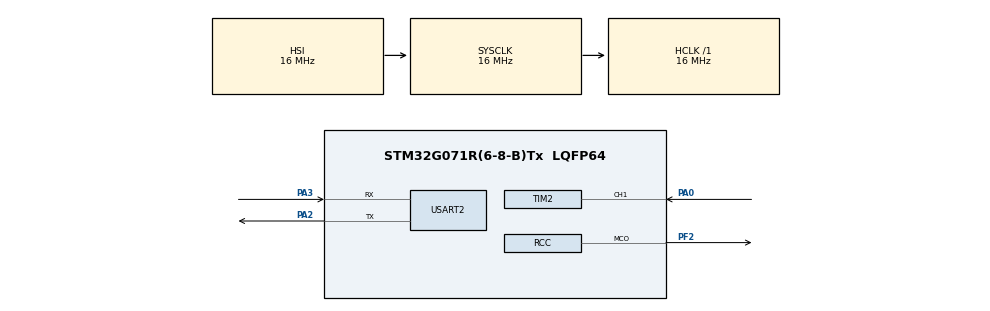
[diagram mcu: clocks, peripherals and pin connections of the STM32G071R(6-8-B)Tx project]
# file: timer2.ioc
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Mcu.Family=STM32G0
Mcu.Name=STM32G071R(6-8-B)Tx
Mcu.Package=LQFP64
NVIC.TIM2_IRQn=true\:0\:0\:false\:true\:true\:1\:true\:true
PA0.Signal=S_TIM2_CH1
PA2.Mode=Asynchronous
PA2.Signal=USART2_TX
PA3.Mode=Asynchronous
PA3.Signal=USART2_RX
PC14-OSC32_IN\ (PC14).Mode=LSE-External-Oscillator
PC14-OSC32_IN\ (PC14).Signal=RCC_OSC32_IN
PC15-OSC32_OUT\ (PC15).Mode=LSE-External-Oscillator
PC15-OSC32_OUT\ (PC15).Signal=RCC_OSC32_OUT
PF2\ -\ NRST.Mode=Clock-out
PF2\ -\ NRST.Signal=RCC_MCO
ProjectManager.HeapSize=0x200
ProjectManager.StackSize=0x400
ProjectManager.TargetToolchain=STM32CubeIDE
RCC.AHBFreq_Value=16000000
RCC.CortexFreq_Value=16000000
RCC.EXTERNAL_CLOCK_VALUE=48000
RCC.HCLKFreq_Value=16000000
RCC.HSE_VALUE=8000000
RCC.HSI_VALUE=16000000
RCC.RCC_MCO1Source=RCC_MCO1SOURCE_LSE
RCC.SYSCLKFreq_VALUE=16000000
RCC.VCOOutputFreq_Value=128000000
SH.S_TIM2_CH1.0=TIM2_CH1,Input_Capture1_from_TI1
TIM2.Channel-Input_Capture1_from_TI1=TIM_CHANNEL_1
USART2.VirtualMode-Asynchronous=VM_ASYNC
VP_SYS_VS_DBSignals.Mode=DisableDeadBatterySignals
VP_TIM2_VS_ClockSourceINT.Mode=Internal
board=custom

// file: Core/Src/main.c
/* USER CODE BEGIN Header */
/**
  ******************************************************************************
  * @file           : main.c
  * @brief          : Main program body
  ******************************************************************************
  * @attention
  *
  * <h2><center>&copy; Copyright (c) 2019 STMicroelectronics.
  * All rights reserved.</center></h2>
  *
  * This software component is licensed by ST under BSD 3-Clause license,
  * the "License"; You may not use this file except in compliance with the
  * License. You may obtain a copy of the License at:
  *                        opensource.org/licenses/BSD-3-Clause
  *
  ******************************************************************************
  */
/* USER CODE END Header */

#include "main.h"
#include "stdbool.h"
#include "stdio.h"

TIM_HandleTypeDef htim2;

UART_HandleTypeDef huart2;

/* USER CODE BEGIN PV */
uint32_t capt[2];
uint8_t count=1,counter1=1;
bool Isdone =false;
uint32_t diff;
uint8_t differ[100];
double tim2_freq,tim2_cnt_response,user_signal_period,user_signal_freq;
/* USER CODE END PV */

void SystemClock_Config(void);
static void MX_GPIO_Init(void);
static void MX_TIM2_Init(void);
static void MX_USART2_UART_Init(void);
static void MX_NVIC_Init(void);

int main(void)
{

  /* MCU Configuration--------------------------------------------------------*/

  /* Reset of all peripherals, Initializes the Flash interface and the Systick. */
  HAL_Init();

  /* Configure the system clock */
  SystemClock_Config();

  /* Initialize all configured peripherals */
  MX_GPIO_Init();
  MX_TIM2_Init();
  MX_USART2_UART_Init();

  /* Initialize interrupts */
  MX_NVIC_Init();
  /* USER CODE BEGIN 2 */
  HAL_TIM_IC_Start_IT(&htim2, TIM_CHANNEL_1);
  /* USER CODE END 2 */

  /* Infinite loop */
  /* USER CODE BEGIN WHILE */
  while (1)
  {
	  if(counter1==1)
	  {
    /* USER CODE END WHILE */
	  if(Isdone==true)
	 	  {
	 		  if(capt[1]>capt[0])
	 		  {
	 			  diff=capt[1]-capt[0];}
	 		  else
	 		  {
	 			  diff=(0xFFFFFFFF-capt[0])+capt[1];}
	 		  Isdone=false;

	  tim2_freq=16000000;
	  tim2_cnt_response=1/tim2_freq;
	  user_signal_period=diff*tim2_cnt_response;
	  user_signal_freq=1/user_signal_period;
	  sprintf((char *)differ,"num=%lf\n",user_signal_freq);
	  HAL_UART_Transmit(&huart2,(uint8_t*) differ, 20, 1000);
	  Isdone=false;
	  counter1=0;
	 	  }
    // USER CODE BEGIN 3
  }}
  /* USER CODE END 3 */
}

void SystemClock_Config(void)
{
  RCC_OscInitTypeDef RCC_OscInitStruct = {0};
  RCC_ClkInitTypeDef RCC_ClkInitStruct = {0};
  RCC_PeriphCLKInitTypeDef PeriphClkInit = {0};

  /** Configure the main internal regulator output voltage
  */
  HAL_PWREx_ControlVoltageScaling(PWR_REGULATOR_VOLTAGE_SCALE1);
  /** Configure LSE Drive Capability
  */
  __HAL_RCC_LSEDRIVE_CONFIG(RCC_LSEDRIVE_LOW);
  /** Initializes the CPU, AHB and APB busses clocks
  */
  RCC_OscInitStruct.OscillatorType = RCC_OSCILLATORTYPE_HSI|RCC_OSCILLATORTYPE_LSE;
  RCC_OscInitStruct.LSEState = RCC_LSE_ON;
  RCC_OscInitStruct.HSIState = RCC_HSI_ON;
  RCC_OscInitStruct.HSIDiv = RCC_HSI_DIV1;
  RCC_OscInitStruct.HSICalibrationValue = RCC_HSICALIBRATION_DEFAULT;
  RCC_OscInitStruct.PLL.PLLState = RCC_PLL_NONE;
  if (HAL_RCC_OscConfig(&RCC_OscInitStruct) != HAL_OK)
  {
    Error_Handler();
  }
  /** Initializes the CPU, AHB and APB busses clocks
  */
  RCC_ClkInitStruct.ClockType = RCC_CLOCKTYPE_HCLK|RCC_CLOCKTYPE_SYSCLK
                              |RCC_CLOCKTYPE_PCLK1;
  RCC_ClkInitStruct.SYSCLKSource = RCC_SYSCLKSOURCE_HSI;
  RCC_ClkInitStruct.AHBCLKDivider = RCC_SYSCLK_DIV1;
  RCC_ClkInitStruct.APB1CLKDivider = RCC_HCLK_DIV1;

  if (HAL_RCC_ClockConfig(&RCC_ClkInitStruct, FLASH_LATENCY_0) != HAL_OK)
  {
    Error_Handler();
  }
  /** Initializes the peripherals clocks
  */
  PeriphClkInit.PeriphClockSelection = RCC_PERIPHCLK_USART2;
  PeriphClkInit.Usart2ClockSelection = RCC_USART2CLKSOURCE_PCLK1;
  if (HAL_RCCEx_PeriphCLKConfig(&PeriphClkInit) != HAL_OK)
  {
    Error_Handler();
  }
  HAL_RCC_MCOConfig(RCC_MCO1, RCC_MCO1SOURCE_LSE, RCC_MCODIV_1);
}

/**
  * @brief NVIC Configuration.
  * @retval None
  */
static void MX_NVIC_Init(void)
{
  /* TIM2_IRQn interrupt configuration */
  HAL_NVIC_SetPriority(TIM2_IRQn, 0, 0);
  HAL_NVIC_EnableIRQ(TIM2_IRQn);
}

static void MX_TIM2_Init(void)
{

  TIM_ClockConfigTypeDef sClockSourceConfig = {0};
  TIM_MasterConfigTypeDef sMasterConfig = {0};
  TIM_IC_InitTypeDef sConfigIC = {0};

  htim2.Instance = TIM2;
  htim2.Init.Prescaler = 0;
  htim2.Init.CounterMode = TIM_COUNTERMODE_UP;
  htim2.Init.Period = 16000000-1;
  htim2.Init.ClockDivision = TIM_CLOCKDIVISION_DIV1;
  htim2.Init.AutoReloadPreload = TIM_AUTORELOAD_PRELOAD_DISABLE;
  if (HAL_TIM_Base_Init(&htim2) != HAL_OK)
  {
    Error_Handler();
  }
  sClockSourceConfig.ClockSource = TIM_CLOCKSOURCE_INTERNAL;
  if (HAL_TIM_ConfigClockSource(&htim2, &sClockSourceConfig) != HAL_OK)
  {
    Error_Handler();
  }
  if (HAL_TIM_IC_Init(&htim2) != HAL_OK)
  {
    Error_Handler();
  }
  sMasterConfig.MasterOutputTrigger = TIM_TRGO_RESET;
  sMasterConfig.MasterSlaveMode = TIM_MASTERSLAVEMODE_DISABLE;
  if (HAL_TIMEx_MasterConfigSynchronization(&htim2, &sMasterConfig) != HAL_OK)
  {
    Error_Handler();
  }
  sConfigIC.ICPolarity = TIM_INPUTCHANNELPOLARITY_RISING;
  sConfigIC.ICSelection = TIM_ICSELECTION_DIRECTTI;
  sConfigIC.ICPrescaler = TIM_ICPSC_DIV1;
  sConfigIC.ICFilter = 0;
  if (HAL_TIM_IC_ConfigChannel(&htim2, &sConfigIC, TIM_CHANNEL_1) != HAL_OK)
  {
    Error_Handler();
  }

}

static void MX_USART2_UART_Init(void)
{

  huart2.Instance = USART2;
  huart2.Init.BaudRate = 115200;
  huart2.Init.WordLength = UART_WORDLENGTH_8B;
  huart2.Init.StopBits = UART_STOPBITS_1;
  huart2.Init.Parity = UART_PARITY_NONE;
  huart2.Init.Mode = UART_MODE_TX_RX;
  huart2.Init.HwFlowCtl = UART_HWCONTROL_NONE;
  huart2.Init.OverSampling = UART_OVERSAMPLING_16;
  huart2.Init.OneBitSampling = UART_ONE_BIT_SAMPLE_DISABLE;
  huart2.Init.ClockPrescaler = UART_PRESCALER_DIV1;
  huart2.AdvancedInit.AdvFeatureInit = UART_ADVFEATURE_NO_INIT;
  if (HAL_UART_Init(&huart2) != HAL_OK)
  {
    Error_Handler();
  }
  if (HAL_UARTEx_SetTxFifoThreshold(&huart2, UART_TXFIFO_THRESHOLD_1_8) != HAL_OK)
  {
    Error_Handler();
  }
  if (HAL_UARTEx_SetRxFifoThreshold(&huart2, UART_RXFIFO_THRESHOLD_1_8) != HAL_OK)
  {
    Error_Handler();
  }
  if (HAL_UARTEx_DisableFifoMode(&huart2) != HAL_OK)
  {
    Error_Handler();
  }

}

static void MX_GPIO_Init(void)
{
  GPIO_InitTypeDef GPIO_InitStruct = {0};

  /* GPIO Ports Clock Enable */
  __HAL_RCC_GPIOC_CLK_ENABLE();
  __HAL_RCC_GPIOF_CLK_ENABLE();
  __HAL_RCC_GPIOA_CLK_ENABLE();

  /*Configure GPIO pin : PF2 */
  GPIO_InitStruct.Pin = GPIO_PIN_2;
  GPIO_InitStruct.Mode = GPIO_MODE_AF_PP;
  GPIO_InitStruct.Pull = GPIO_NOPULL;
  GPIO_InitStruct.Speed = GPIO_SPEED_FREQ_LOW;
  GPIO_InitStruct.Alternate = GPIO_AF0_MCO;
  HAL_GPIO_Init(GPIOF, &GPIO_InitStruct);

}

/* USER CODE BEGIN 4 */
void HAL_TIM_IC_CaptureCallback(TIM_HandleTypeDef *htim)
{
 if(!Isdone)
 {
  if(count==1)
  {
	  capt[0]=__HAL_TIM_GET_COMPARE(htim,TIM_CHANNEL_1);
	  count++;
  }
  else if(count==2)
   {
 	  capt[1]=__HAL_TIM_GET_COMPARE(htim,TIM_CHANNEL_1);
 	  Isdone=true;
   }
}
}
/* USER CODE END 4 */

void Error_Handler(void)
{
}

/************************ (C) COPYRIGHT STMicroelectronics *****END OF FILE****/
